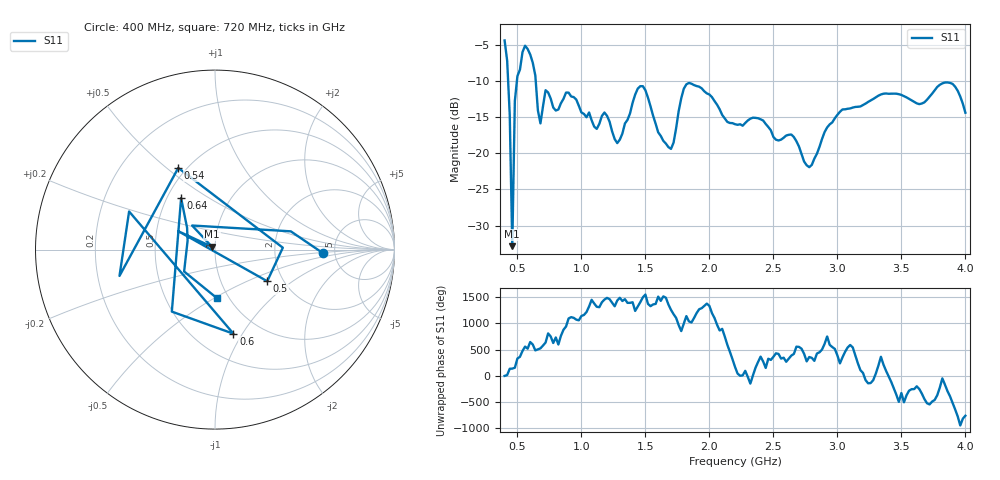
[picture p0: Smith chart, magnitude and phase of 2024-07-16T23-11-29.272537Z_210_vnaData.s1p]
!Created with skrf (http://scikit-rf.org).
# Hz S RI R 50.0
!freq ReS11 ImS11
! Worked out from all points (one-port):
!   181 points, 400 MHz to 4 GHz, reference 50 ohm
!   lowest |S11| = -32.8 dB at 460 MHz (marker M1), VSWR 1.05, Z = 48.3 + j1.51 ohm
!   |S11| at or under -10 dB: 427.5 MHz to 496.3 MHz (68.85 MHz wide, 14.9 % of centre); 643 MHz to end of sweep
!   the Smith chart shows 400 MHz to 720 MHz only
!   S11 on the Smith chart (normalised r, x): 400 MHz: 3.98, -0.23; 500 MHz: 1.66, -0.66; 540 MHz: 0.45, +0.55; 600 MHz: 0.75, -0.92; 640 MHz: 0.59, +0.38; 720 MHz: 0.88, -0.52
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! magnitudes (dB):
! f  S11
! 400 MHz  -4.4
! 420 MHz  -7.2
! 440 MHz  -14.6
! 460 MHz  -32.8
! 480 MHz  -12.8
! 500 MHz  -9.4
! 540 MHz  -6.0
! 600 MHz  -6.4
! 640 MHz  -9.3
! 680 MHz  -15.9
! 720 MHz  -11.3
! 800 MHz  -14.1
! 860 MHz  -12.5
! 1.12 GHz  -16.6
! 1.18 GHz  -14.4
! 1.3 GHz  -18.1
! 1.46 GHz  -10.7
! 1.7 GHz  -19.4
! 1.76 GHz  -14.2
! 1.84 GHz  -10.3
! 2.2 GHz  -16.0
! 2.66 GHz  -17.8
! 2.78 GHz  -21.9
! 2.92 GHz  -16.4
! 3.1 GHz  -13.8
! 3.56 GHz  -12.5
! 3.88 GHz  -10.3
! 4 GHz  -14.4
